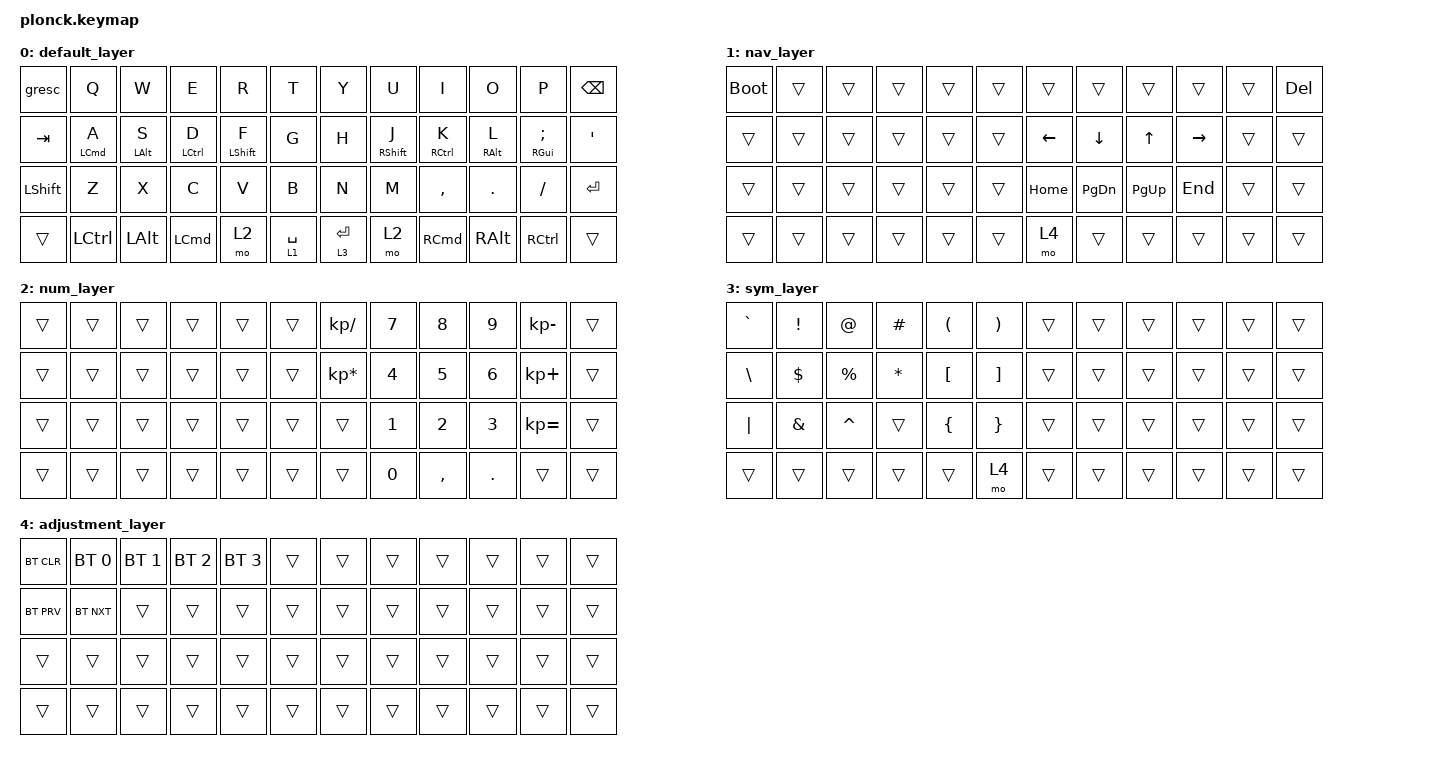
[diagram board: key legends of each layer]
/*
 * Copyright (c) 2021 swampmonster
 *
 * SPDX-License-Identifier: MIT
 */

#include <behaviors.dtsi>
#include <dt-bindings/zmk/keys.h>
#include <dt-bindings/zmk/bt.h>

/ {
    combos {
        compatible = "zmk,combos";
        combo_mins {
            timeout-ms = <30>;
            key-positions = <15 16>;
            bindings = <&kp MINUS>;
        };

        combo_unds {
            timeout-ms = <30>;
            key-positions = <19 20>;
            bindings = <&kp UNDER>;
        };
    };

    behaviors {
        hm: homerow_mods {
            compatible = "zmk,behavior-hold-tap";
            label = "HOMEROW_MODS";
            #binding-cells = <2>;
            tapping-term-ms = <200>;
            quick_tap_ms = <0>;
            flavor = "tap-preferred";
            bindings = <&kp>, <&kp>;
        };
    };

	keymap {
		compatible = "zmk,keymap";

		default_layer {
			bindings = <
                &gresc    &kp Q      &kp W      &kp E       &kp R       &kp T     &kp Y     &kp U       &kp I       &kp O      &kp P         &kp BSPC
	            &kp TAB   &hm LCMD A &hm LALT S &hm LCTRL D &hm LSHFT F &kp G     &kp H     &hm RSHFT J &hm RCTRL K &hm RALT L &hm RGUI SEMI &kp SQT
	            &kp LSHFT &kp Z      &kp X      &kp C       &kp V       &kp B     &kp N     &kp M       &kp COMMA   &kp DOT    &kp FSLH      &kp RET
	            &trans    &kp LCTRL  &kp LALT   &kp LCMD    &mo 2       &lt 1 SPC &lt 3 RET &mo 2       &kp RCMD    &kp RALT   &kp RCTRL     &trans
			>;
		};

		nav_layer {
			bindings = <
                &bootloader &trans &trans &trans &trans &trans &trans   &trans    &trans    &trans    &trans &kp DEL
                &trans      &trans &trans &trans &trans &trans &kp LEFT &kp DOWN  &kp UP    &kp RIGHT &trans &trans
                &trans      &trans &trans &trans &trans &trans &kp HOME &kp PG_DN &kp PG_UP &kp END   &trans &trans
                &trans      &trans &trans &trans &trans &trans &mo 4 &trans &trans    &trans    &trans &trans
			>;
		};

		num_layer {
			bindings = <
                &trans &trans &trans &trans &trans &trans &kp KP_SLASH    &kp N7 &kp N8    &kp N9  &kp KP_MINUS &trans
                &trans &trans &trans &trans &trans &trans &kp KP_MULTIPLY &kp N4 &kp N5    &kp N6  &kp KP_PLUS  &trans
                &trans &trans &trans &trans &trans &trans &trans          &kp N1 &kp N2    &kp N3  &kp KP_EQUAL &trans
                &trans &trans &trans &trans &trans &trans &trans          &kp N0 &kp COMMA &kp DOT &trans       &trans
			>;
		};

		sym_layer {
			bindings = <
                &kp GRAVE &kp EXCL  &kp AT    &kp HASH  &kp LPAR &kp RPAR &trans &trans &trans &trans &trans &trans 
                &kp BSLH  &kp DLLR  &kp PRCNT &kp ASTRK &kp LBKT &kp RBKT &trans &trans &trans &trans &trans &trans 
                &kp PIPE  &kp AMPS  &kp CARET &trans    &kp LBRC &kp RBRC &trans &trans &trans &trans &trans &trans 
                &trans    &trans    &trans    &trans    &trans   &mo 4   &trans &trans &trans &trans &trans &trans 
			>;
		};

        adjustment_layer {
            bindings = <
                &bt BT_CLR &bt BT_SEL 0 &bt BT_SEL 1 &bt BT_SEL 2 &bt BT_SEL 3 &trans &trans &trans &trans &trans &trans &trans 
                &bt BT_PRV &bt BT_NXT &trans &trans &trans &trans &trans &trans &trans &trans &trans &trans 
                &trans &trans &trans &trans    &trans &trans &trans &trans &trans &trans &trans &trans 
                &trans    &trans    &trans    &trans    &trans   &trans   &trans &trans &trans &trans &trans &trans 
            >;
        };
	};
};
